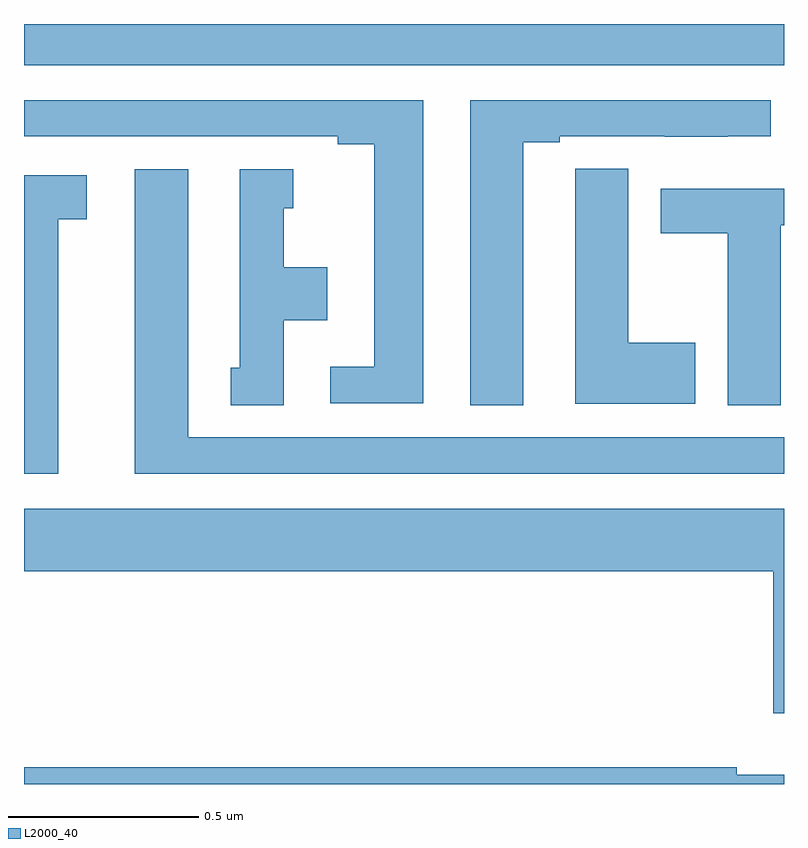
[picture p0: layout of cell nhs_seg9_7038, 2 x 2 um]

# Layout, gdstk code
import gdstk
lib = gdstk.Library(unit=1e-6, precision=1e-09)
def R(c, l, rs):  # rectangles x0, y0, x1, y1
    for r in rs: c.add(gdstk.rectangle(r[:2], r[2:], *l))
def P(c, l, *ps):  # polygons
    for p in ps: c.add(gdstk.Polygon(p, *l))
L2000_40 = (2000, 40)

nhs_seg9_7038 = lib.new_cell('nhs_seg9_7038')
R(nhs_seg9_7038, L2000_40, [(199,1224.392,201,1224.5)])
P(nhs_seg9_7038, L2000_40, [(200.314,1224.189),(200.41,1224.189),(200.41,1224.204),(200.686,1224.204),(200.686,1224.203),(200.852,1224.203),(200.852,1224.204),(200.965,1224.204),(200.965,1224.3),(200.174,1224.3),(200.174,1223.497),(200.314,1223.497)],
  [(200.05,1224.3),(199,1224.3),(199,1224.204),(199.826,1224.204),(199.826,1224.184),(199.922,1224.184),(199.922,1223.598),(199.806,1223.598),(199.806,1223.502),(200.05,1223.502)],
  [(200.767,1223.661),(200.59,1223.661),(200.59,1224.119),(200.451,1224.119),(200.451,1224.011),(200.45,1224.011),(200.45,1223.501),(200.767,1223.501)],
  [(201,1223.412),(199.432,1223.412),(199.432,1224.118),(199.292,1224.118),(199.292,1223.316),(201,1223.316)],
  [(199.684,1223.72),(199.798,1223.72),(199.798,1223.86),(199.684,1223.86),(199.684,1224.015),(199.708,1224.015),(199.708,1224.118),(199.568,1224.118),(199.568,1223.595),(199.544,1223.595),(199.544,1223.497),(199.684,1223.497)],
  [(199.09,1223.986),(199.165,1223.986),(199.165,1224.102),(199,1224.102),(199,1223.316),(199.09,1223.316)],
  [(200.991,1223.608),(200.992,1223.608),(200.992,1223.97),(201,1223.97),(201,1224.066),(200.675,1224.066),(200.675,1223.95),(200.852,1223.95),(200.852,1223.497),(200.991,1223.497)],
  [(201,1223.224),(199,1223.224),(199,1223.06),(200.972,1223.06),(200.972,1222.686),(201,1222.686)],
  [(201,1222.525),(200.876,1222.525),(200.876,1222.544),(199,1222.544),(199,1222.5),(201,1222.5)])

lib.write_gds('nhs_seg9_7038.gds')
